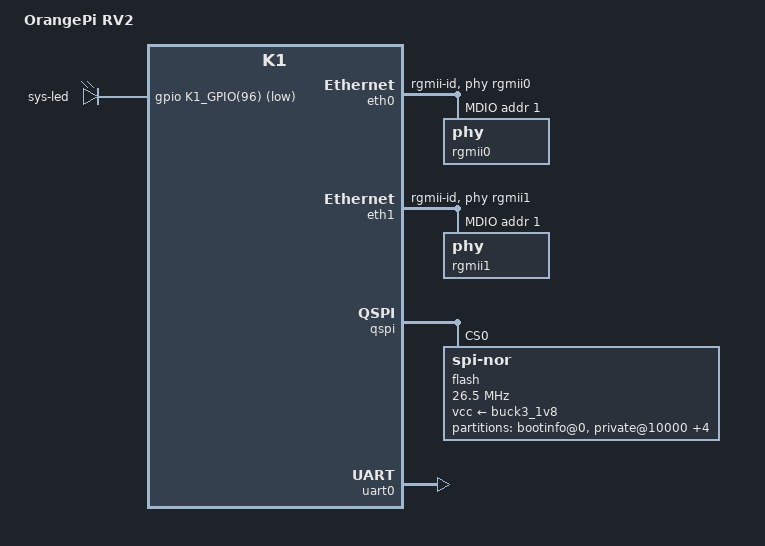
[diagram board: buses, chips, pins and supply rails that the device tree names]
// SPDX-License-Identifier: (GPL-2.0 OR MIT)
/*
 * Copyright (C) 2024 Yangyu Chen <cyy@cyyself.name>
 * Copyright (C) 2025 Hendrik Hamerlinck <hendrik.hamerlinck@hammernet.be>
 */

/dts-v1/;

#include "k1.dtsi"
#include "k1-pinctrl.dtsi"

/ {
	model = "OrangePi RV2";
	compatible = "xunlong,orangepi-rv2", "spacemit,k1";

	aliases {
		serial0 = &uart0;
		ethernet0 = &eth0;
		ethernet1 = &eth1;
	};

	chosen {
		stdout-path = "serial0";
	};

	leds {
		compatible = "gpio-leds";

		led1 {
			label = "sys-led";
			gpios = <&gpio K1_GPIO(96) GPIO_ACTIVE_LOW>;
			linux,default-trigger = "heartbeat";
			default-state = "on";
		};
	};
};

&eth0 {
	phy-handle = <&rgmii0>;
	phy-mode = "rgmii-id";
	pinctrl-names = "default";
	pinctrl-0 = <&gmac0_cfg>;
	rx-internal-delay-ps = <0>;
	tx-internal-delay-ps = <0>;
	status = "okay";

	mdio-bus {
		#address-cells = <0x1>;
		#size-cells = <0x0>;

		reset-gpios = <&gpio K1_GPIO(110) GPIO_ACTIVE_LOW>;
		reset-delay-us = <10000>;
		reset-post-delay-us = <100000>;

		rgmii0: phy@1 {
			reg = <0x1>;
			motorcomm,auto-sleep-disabled;
		};
	};
};

&eth1 {
	phy-handle = <&rgmii1>;
	phy-mode = "rgmii-id";
	pinctrl-names = "default";
	pinctrl-0 = <&gmac1_cfg>;
	rx-internal-delay-ps = <0>;
	tx-internal-delay-ps = <250>;
	status = "okay";

	mdio-bus {
		#address-cells = <0x1>;
		#size-cells = <0x0>;

		reset-gpios = <&gpio K1_GPIO(115) GPIO_ACTIVE_LOW>;
		reset-delay-us = <10000>;
		reset-post-delay-us = <100000>;

		rgmii1: phy@1 {
			reg = <0x1>;
			motorcomm,auto-sleep-disabled;
		};
	};
};

&pdma {
	status = "okay";
};

&qspi {
	pinctrl-names = "default";
	pinctrl-0 = <&qspi_cfg>;
	status = "okay";

	flash@0 {
		compatible = "jedec,spi-nor";
		reg = <0>;
		spi-max-frequency = <26500000>;
		spi-rx-bus-width = <4>;
		spi-tx-bus-width = <4>;
		vcc-supply = <&buck3_1v8>;

		partitions {
			compatible = "fixed-partitions";
			#address-cells = <1>;
			#size-cells = <1>;

			bootinfo@0 {
				reg = <0x00000 0x010000>;
			};

			private@10000 {
				reg = <0x10000 0x010000>;
			};

			fsbl@20000 {
				reg = <0x20000 0x040000>;
			};

			env@60000 {
				reg = <0x60000 0x010000>;
			};

			opensbi@70000 {
				reg = <0x70000 0x030000>;
			};

			uboot@a00000 {
				reg = <0xa0000 0x760000>;
			};
		};
	};
};

&uart0 {
	pinctrl-names = "default";
	pinctrl-0 = <&uart0_2_cfg>;
	status = "okay";
};
